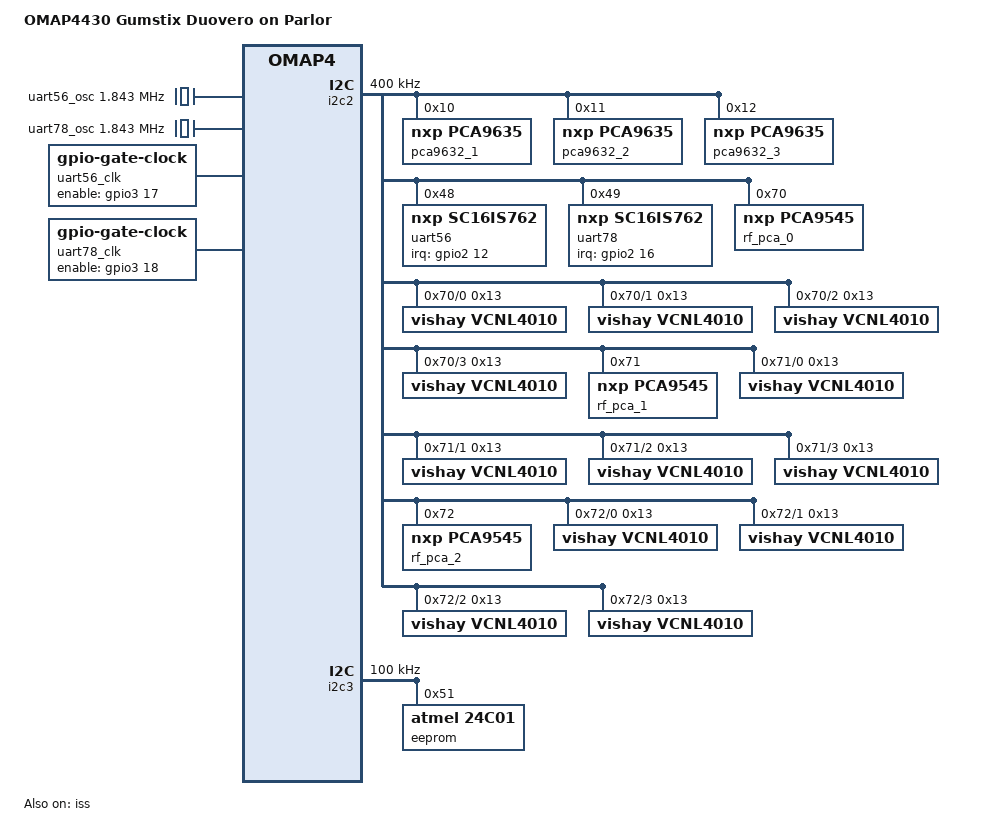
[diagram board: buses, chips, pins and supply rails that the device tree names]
/*
 * Copyright (C) 2014 Florian Vaussard, EPFL Mobots group
 *
 * This program is free software; you can redistribute it and/or modify
 * it under the terms of the GNU General Public License version 2 as
 * published by the Free Software Foundation.
 */
/dts-v1/;

#include "omap4-duovero.dtsi"

#include <dt-bindings/input/input.h>

/ {
	model = "OMAP4430 Gumstix Duovero on Parlor";
	compatible = "gumstix,omap4-duovero-parlor", "gumstix,omap4-duovero", "ti,omap4430", "ti,omap4";

	uart56_osc: uart56_osc {
		compatible = "fixed-clock";
		#clock-cells = <0>;
		clock-frequency = <1843200>;
	};

	uart78_osc: uart78_osc {
		compatible = "fixed-clock";
		#clock-cells = <0>;
		clock-frequency = <1843200>;
	};

	uart56_clk: uart56_clk {
		compatible = "gpio-gate-clock";
		clocks = <&uart56_osc>;
		#clock-cells = <0>;
		enable-gpios = <&gpio3 17 GPIO_ACTIVE_HIGH>; /* cam_shutter.gpio_81: uart56_clk_en */
	};

	uart78_clk: uart78_clk {
		compatible = "gpio-gate-clock";
		clocks = <&uart78_osc>;
		#clock-cells = <0>;
		enable-gpios = <&gpio3 18 GPIO_ACTIVE_HIGH>; /* cam_strobe.gpio_82: uart78_clk_en */
	};
};

&omap4_pmx_core {
	pinctrl-0 = <
			&uart56ctrl_pins
			&uart78ctrl_pins
	>;

	i2c2_pins: pinmux_i2c2_pins {
		pinctrl-single,pins = <
			OMAP4_IOPAD(0x126, PIN_INPUT_PULLUP | MUX_MODE0)	/* i2c2_scl */
			OMAP4_IOPAD(0x128, PIN_INPUT_PULLUP | MUX_MODE0)	/* i2c2_sda */
		>;
	};

	i2c3_pins: pinmux_i2c3_pins {
		pinctrl-single,pins = <
			OMAP4_IOPAD(0x12a, PIN_INPUT_PULLUP | MUX_MODE0)	/* i2c3_scl */
			OMAP4_IOPAD(0x12c, PIN_INPUT_PULLUP | MUX_MODE0)	/* i2c3_sda */
		>;
	};

	uart56ctrl_pins: pinmux_uart56ctrl_pins {
		pinctrl-single,pins = <
			OMAP4_IOPAD(0x068, PIN_INPUT_PULLUP | MUX_MODE3)	/* gpmc_a20.gpio_44: uart56_irq */
			OMAP4_IOPAD(0x06a, PIN_INPUT_PULLUP | MUX_MODE3)	/* gpmc_a21.gpio_45: uart56_nrst */
			OMAP4_IOPAD(0x0bc, PIN_OUTPUT | MUX_MODE3)		/* cam_shutter.gpio_81: uart56_clk_en */
		>;
	};

	uart78ctrl_pins: pinmux_uart78ctrl_pins {
		pinctrl-single,pins = <
			OMAP4_IOPAD(0x070, PIN_INPUT_PULLUP | MUX_MODE3)	/* gpmc_a24.gpio_48: uart78_irq */
			OMAP4_IOPAD(0x06c, PIN_INPUT_PULLUP | MUX_MODE3)	/* gpmc_a24.gpio_46: uart78_nrst */
			OMAP4_IOPAD(0x0be, PIN_OUTPUT | MUX_MODE3)		/* cam_strobe.gpio_82: uart78_clk_en */
		>;
	};
};

&i2c2 {
	pinctrl-names = "default";
	pinctrl-0 = <&i2c2_pins>;

	clock-frequency = <400000>;

	pca9632_1: pca9632@10 {
		compatible = "nxp,pca9635";
		#address-cells = <1>;
		#size-cells = <0>;
		reg = <0x10>;

		leddeck1_red@0    { label = "led_deck[1]:red";   reg = <0>; };
		leddeck1_green@1  { label = "led_deck[1]:green"; reg = <1>; };
		leddeck1_blue@2   { label = "led_deck[1]:blue";  reg = <2>; };
		leddeck2_red@4    { label = "led_deck[2]:red";   reg = <4>; };
		leddeck2_green@5  { label = "led_deck[2]:green"; reg = <5>; };
		leddeck2_blue@6   { label = "led_deck[2]:blue";  reg = <6>; };
		leddeck3_red@8    { label = "led_deck[3]:red";   reg = <8>; };
		leddeck3_green@9  { label = "led_deck[3]:green"; reg = <9>; };
		leddeck3_blue@10  { label = "led_deck[3]:blue";  reg = <10>; };
		leddeck4_red@12   { label = "led_deck[4]:red";   reg = <12>; };
		leddeck4_green@13 { label = "led_deck[4]:green"; reg = <13>; };
		leddeck4_blue@14  { label = "led_deck[4]:blue";  reg = <14>; };
		unused0@3  { reg = <3>; };
		unused1@7  { reg = <7>; };
		unused2@11 { reg = <11>; };
		unused3@15 { reg = <15>; };
	};

	pca9632_2: pca9632@11 {
		compatible = "nxp,pca9635";
		#address-cells = <1>;
		#size-cells = <0>;
		reg = <0x11>;

		leddeck5_red@0    { label = "led_deck[5]:red";   reg = <0>; };
		leddeck5_green@1  { label = "led_deck[5]:green"; reg = <1>; };
		leddeck5_blue@2   { label = "led_deck[5]:blue";  reg = <2>; };
		leddeck6_red@4    { label = "led_deck[6]:red";   reg = <4>; };
		leddeck6_green@5  { label = "led_deck[6]:green"; reg = <5>; };
		leddeck6_blue@6   { label = "led_deck[6]:blue";  reg = <6>; };
		leddeck7_red@8    { label = "led_deck[7]:red";   reg = <8>; };
		leddeck7_green@9  { label = "led_deck[7]:green"; reg = <9>; };
		leddeck7_blue@10  { label = "led_deck[7]:blue";  reg = <10>; };
		leddeck8_red@12   { label = "led_deck[8]:red";   reg = <12>; };
		leddeck8_green@13 { label = "led_deck[8]:green"; reg = <13>; };
		leddeck8_blue@14  { label = "led_deck[8]:blue";  reg = <14>; };
		unused4@3  { reg = <3>; };
		unused5@7  { reg = <7>; };
		unused6@11 { reg = <11>; };
		unused7@15 { reg = <15>; };
	};

	pca9632_3: pca9632@12 {
		compatible = "nxp,pca9635";
		#address-cells = <1>;
		#size-cells = <0>;
		reg = <0x12>;

		leddeck9_red@0    { label = "led_deck[9]:red";   reg = <0>; };
		leddeck9_green@1  { label = "led_deck[9]:green"; reg = <1>; };
		leddeck9_blue@2   { label = "led_deck[9]:blue";  reg = <2>; };
		leddeck10_red@4    { label = "led_deck[10]:red";   reg = <4>; };
		leddeck10_green@5  { label = "led_deck[10]:green"; reg = <5>; };
		leddeck10_blue@6   { label = "led_deck[10]:blue";  reg = <6>; };
		leddeck11_red@8    { label = "led_deck[11]:red";   reg = <8>; };
		leddeck11_green@9  { label = "led_deck[11]:green"; reg = <9>; };
		leddeck11_blue@10  { label = "led_deck[11]:blue";  reg = <10>; };
		leddeck12_red@12   { label = "led_deck[12]:red";   reg = <12>; };
		leddeck12_green@13 { label = "led_deck[12]:green"; reg = <13>; };
		leddeck12_blue@14  { label = "led_deck[12]:blue";  reg = <14>; };
		unused8@3  { reg = <3>; };
		unused9@7  { reg = <7>; };
		unused10@11 { reg = <11>; };
		unused11@15 { reg = <15>; };
	};

	uart56: sc16is762@48 {
		compatible = "nxp,sc16is762";
		reg = <0x48>;
		clocks = <&uart56_clk>;

		interrupt-parent = <&gpio2>;
		interrupts = <12 IRQ_TYPE_EDGE_FALLING>; /* gpmc_a20.gpio_44 */
	};

	uart78: sc16is762@49 {
		compatible = "nxp,sc16is762";
		reg = <0x49>;
		clocks = <&uart78_clk>;

		interrupt-parent = <&gpio2>;
		interrupts = <16 IRQ_TYPE_EDGE_FALLING>; /* gpmc_a24.gpio_48 */
	};

	rf_pca_0: pca9545@70 {
		compatible = "nxp,pca9545";
		#address-cells = <1>;
		#size-cells = <0>;
		reg = <0x70>;
		i2c-mux-idle-disconnect;

		i2c@0 {
			#address-cells = <1>;
			#size-cells = <0>;
			reg = <0>;
			
			vcnl4010@13 {
				compatible = "vishay,vcnl4010";
				reg = <0x13>;
			};
		};

		i2c@1 {
			#address-cells = <1>;
			#size-cells = <0>;
			reg = <1>;
			
			vcnl4010@13 {
				compatible = "vishay,vcnl4010";
				reg = <0x13>;
			};
		};

		i2c@2 {
			#address-cells = <1>;
			#size-cells = <0>;
			reg = <2>;
			
			vcnl4010@13 {
				compatible = "vishay,vcnl4010";
				reg = <0x13>;
			};
		};

		i2c@3 {
			#address-cells = <1>;
			#size-cells = <0>;
			reg = <3>;
			
			vcnl4010@13 {
				compatible = "vishay,vcnl4010";
				reg = <0x13>;
			};
		};
	};
	rf_pca_1: pca9545@71 {
		compatible = "nxp,pca9545";
		#address-cells = <1>;
		#size-cells = <0>;
		reg = <0x71>;
		i2c-mux-idle-disconnect;

		i2c@0 {
			#address-cells = <1>;
			#size-cells = <0>;
			reg = <0>;
			
			vcnl4010@13 {
				compatible = "vishay,vcnl4010";
				reg = <0x13>;
			};
		};

		i2c@1 {
			#address-cells = <1>;
			#size-cells = <0>;
			reg = <1>;
			
			vcnl4010@13 {
				compatible = "vishay,vcnl4010";
				reg = <0x13>;
			};
		};

		i2c@2 {
			#address-cells = <1>;
			#size-cells = <0>;
			reg = <2>;
			
			vcnl4010@13 {
				compatible = "vishay,vcnl4010";
				reg = <0x13>;
			};
		};

		i2c@3 {
			#address-cells = <1>;
			#size-cells = <0>;
			reg = <3>;
			
			vcnl4010@13 {
				compatible = "vishay,vcnl4010";
				reg = <0x13>;
			};
		};
	};
	rf_pca_2: pca9545@72 {
		compatible = "nxp,pca9545";
		#address-cells = <1>;
		#size-cells = <0>;
		reg = <0x72>;
		i2c-mux-idle-disconnect;

		i2c@0 {
			#address-cells = <1>;
			#size-cells = <0>;
			reg = <0>;
			
			vcnl4010@13 {
				compatible = "vishay,vcnl4010";
				reg = <0x13>;
			};
		};

		i2c@1 {
			#address-cells = <1>;
			#size-cells = <0>;
			reg = <1>;
			
			vcnl4010@13 {
				compatible = "vishay,vcnl4010";
				reg = <0x13>;
			};
		};

		i2c@2 {
			#address-cells = <1>;
			#size-cells = <0>;
			reg = <2>;
			
			vcnl4010@13 {
				compatible = "vishay,vcnl4010";
				reg = <0x13>;
			};
		};

		i2c@3 {
			#address-cells = <1>;
			#size-cells = <0>;
			reg = <3>;
			
			vcnl4010@13 {
				compatible = "vishay,vcnl4010";
				reg = <0x13>;
			};
		};
	};
};

&i2c3 {
	pinctrl-names = "default";
	pinctrl-0 = <&i2c3_pins>;

	clock-frequency = <100000>;

	/* optional 1K EEPROM with revision information */
	eeprom@51 {
		compatible = "atmel,24c01";
		reg = <0x51>;
		pagesize = <8>;
	};
};

&mmc3 {
	status = "disabled";
};

&uart3 {
	interrupts-extended = <&wakeupgen GIC_SPI 74 IRQ_TYPE_LEVEL_HIGH
			       &omap4_pmx_core OMAP4_UART3_RX>;
};

&iss {
	status = "ok";
};

